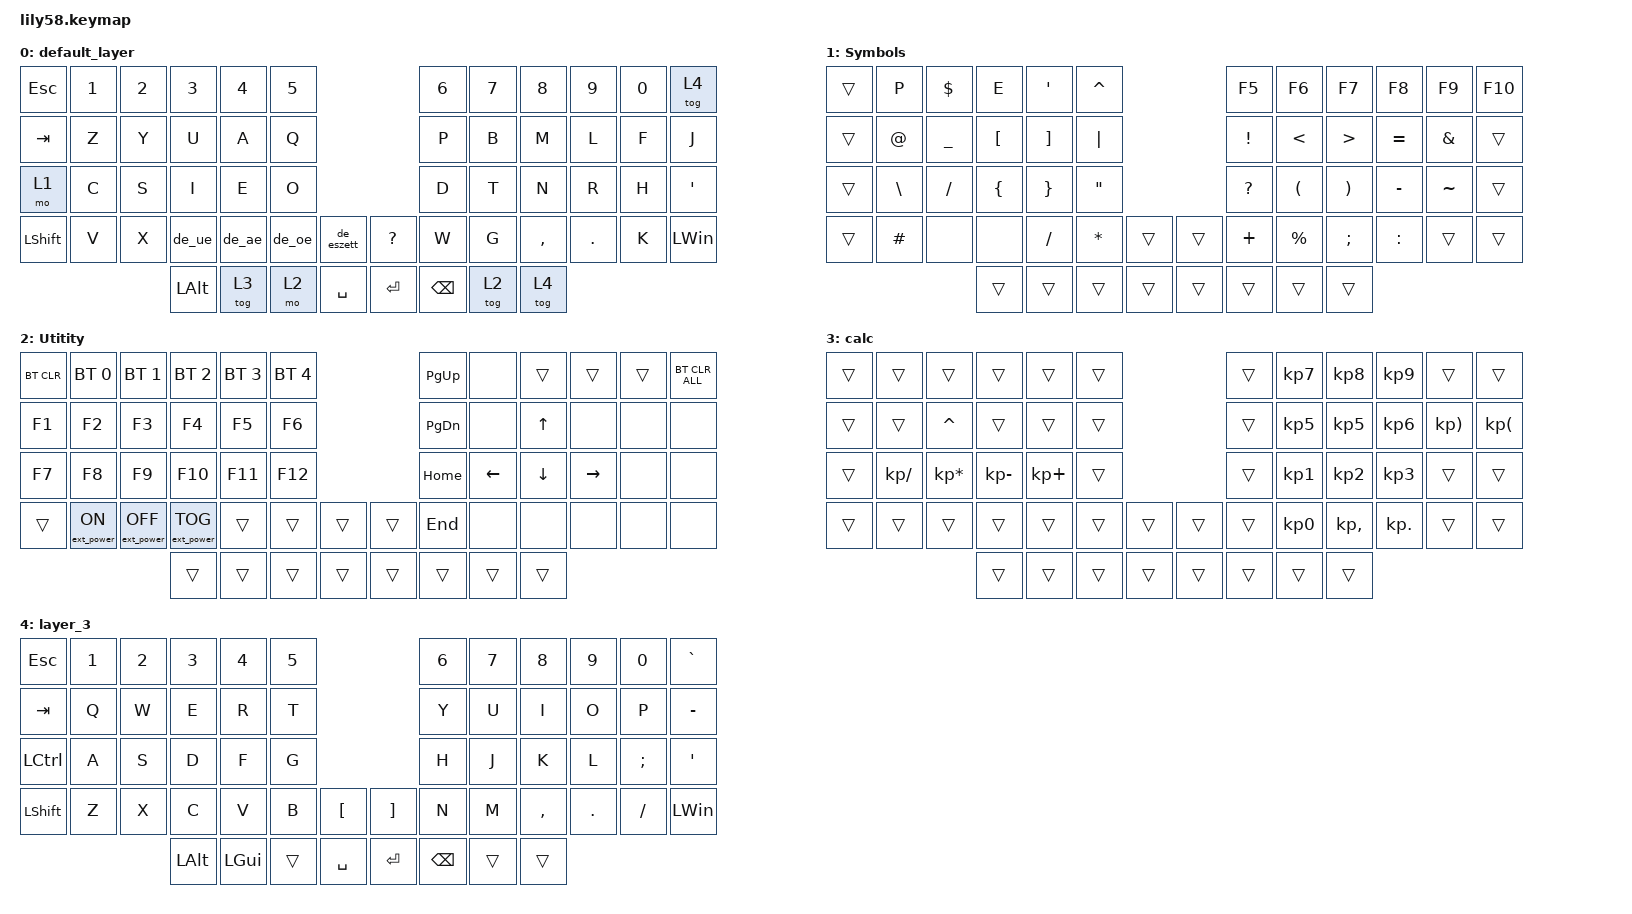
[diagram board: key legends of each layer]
/*
 * Copyright (c) 2020 The ZMK Contributors
 *
 * SPDX-License-Identifier: MIT
 */

#include <behaviors.dtsi>
#include <dt-bindings/zmk/bt.h>
#include <dt-bindings/zmk/keys.h>
#include "zmk-helpers/helper.h"
#include "zmk-helpers/key-labels/lily58.h"
#include "zmk-helpers/unicode-chars/german.dtsi"
#include <dt-bindings/zmk/ext_power.h>

/ {
    keymap {
        compatible = "zmk,keymap";

        default_layer {
            // ------------------------------------------------------------------------------------------------------------
            // |  ESC  |  1  |  2  |  3   |  4   |  5   |                   |  6   |  7    |  8    |  9   |   0   |   `   |
            // |  TAB  |  Q  |  W  |  E   |  R   |  T   |                   |  Y   |  U    |  I    |  O   |   P   |   -   |
            // |  CTRL |  A  |  S  |  D   |  F   |  G   |                   |  H   |  J    |  K    |  L   |   ;   |   '   |
            // | SHIFT |  Z  |  X  |  C   |  V   |  B   |   "["  |  |  "]"  |  N   |  M    |  ,    |  .   |   /   | SHIFT |
            //                     | ALT  | GUI  | LOWER|  SPACE |  | ENTER | RAISE| BSPC  | GUI   |

            bindings = <
&kp ESC    &kp NUMBER_1  &kp NUMBER_2  &kp N3    &kp NUMBER_4  &kp NUMBER_5                              &kp N6         &kp N7  &kp N8     &kp N9   &kp NUMBER_0  &tog 4
&kp TAB    &kp Z         &kp Y         &kp U     &kp A         &kp Q                                     &kp P          &kp B   &kp M      &kp L    &kp F         &kp J
&mo 1      &kp C         &kp S         &kp I     &kp E         &kp O                                     &kp D          &kp T   &kp N      &kp R    &kp H         &kp SQT
&kp LSHFT  &kp V         &kp X         &de_ue    &de_ae        &de_oe        &de_eszett    &kp QUESTION  &kp W          &kp G   &kp COMMA  &kp DOT  &kp K         &kp LEFT_WIN
                                       &kp LALT  &tog 3        &mo 2         &kp SPACE     &kp RET       &kp BACKSPACE  &tog 2  &tog 4
            >;
        };

        Symbols {
            bindings = <
&trans  &kp P          &kp DOLLAR      &kp E             &kp SINGLE_QUOTE   &kp CARET                            &kp F5           &kp F6                &kp F7                 &kp F8     &kp F9         &kp F10
&trans  &kp AT_SIGN    &kp UNDERSCORE  &kp LEFT_BRACKET  &kp RIGHT_BRACKET  &kp PIPE                             &kp EXCLAMATION  &kp LESS_THAN         &kp GREATER_THAN       &kp EQUAL  &kp AMPERSAND  &trans
&trans  &kp BACKSLASH  &kp SLASH       &kp LEFT_BRACE    &kp RIGHT_BRACE    &kp DOUBLE_QUOTES                    &kp QUESTION     &kp LEFT_PARENTHESIS  &kp RIGHT_PARENTHESIS  &kp MINUS  &kp TILDE      &trans
&trans  &kp HASH       &none           &none             &kp SLASH          &kp ASTERISK       &trans    &trans  &kp PLUS         &kp PERCENT           &kp SEMICOLON          &kp COLON  &trans         &trans
                                       &trans            &trans             &trans             &trans    &trans  &trans           &trans                &trans
            >;
        };

        Utitity {
            // ------------------------------------------------------------------------------------------------------------
            // | BTCLR | BT1 | BT2 |  BT3 |  BT4 |  BT5 |                   |      |       |       |      |       |       |
            // |  F1   |  F2 |  F3 |  F4  |  F5  |  F6  |                   |  F7  |  F8   |  F9   |  F10 |  F11  |  F12  |
            // |   `   |  !  |  @  |  #   |  $   |  %   |                   |  ^   |  &    |  *    |  (   |   )   |   ~   |
            // |       |     |     |      |      |      |        |  |       |      |  _    |  +    |  {   |   }   |  "|"  |
            //                     |      |      |      |        |  |       |      |       |       |

            bindings = <
&bt BT_CLR  &bt BT_SEL 0      &bt BT_SEL 1       &bt BT_SEL 2       &bt BT_SEL 3  &bt BT_SEL 4                    &kp PG_UP      &none           &trans          &trans           &trans  &bt BT_CLR_ALL
&kp F1      &kp F2            &kp F3             &kp F4             &kp F5        &kp F6                          &kp PAGE_DOWN  &none           &kp UP_ARROW    &none            &none   &none
&kp F7      &kp F8            &kp F9             &kp F10            &kp F11       &kp F12                         &kp HOME       &kp LEFT_ARROW  &kp DOWN_ARROW  &kp RIGHT_ARROW  &none   &none
&trans      &ext_power EP_ON  &ext_power EP_OFF  &ext_power EP_TOG  &trans        &trans        &trans    &trans  &kp END        &none           &none           &none            &none   &none
                                                 &trans             &trans        &trans        &trans    &trans  &trans         &trans          &trans
            >;
        };

        calc {
            bindings = <
&trans  &trans         &trans           &trans        &trans       &trans                    &trans  &kp KP_NUMBER_7  &kp KP_NUMBER_8  &kp KP_NUMBER_9  &trans                    &trans
&trans  &trans         &kp CARET        &trans        &trans       &trans                    &trans  &kp KP_NUMBER_5  &kp KP_NUMBER_5  &kp KP_NUMBER_6  &kp KP_RIGHT_PARENTHESIS  &kp KP_LEFT_PARENTHESIS
&trans  &kp KP_DIVIDE  &kp KP_ASTERISK  &kp KP_MINUS  &kp KP_PLUS  &trans                    &trans  &kp KP_NUMBER_1  &kp KP_NUMBER_2  &kp KP_NUMBER_3  &trans                    &trans
&trans  &trans         &trans           &trans        &trans       &trans  &trans    &trans  &trans  &kp KP_NUMBER_0  &kp KP_COMMA     &kp KP_DOT       &trans                    &trans
                                        &trans        &trans       &trans  &trans    &trans  &trans  &trans           &trans
            >;
        };

        layer_3 {
            bindings = <
&kp ESC    &kp NUMBER_1  &kp NUMBER_2  &kp N3    &kp NUMBER_4  &kp NUMBER_5                         &kp N6         &kp N7  &kp N8     &kp N9   &kp NUMBER_0  &kp GRAVE
&kp TAB    &kp Q         &kp W         &kp E     &kp R         &kp T                                &kp Y          &kp U   &kp I      &kp O    &kp P         &kp MINUS
&kp LCTRL  &kp A         &kp S         &kp D     &kp F         &kp G                                &kp H          &kp J   &kp K      &kp L    &kp SEMI      &kp SQT
&kp LSHFT  &kp Z         &kp X         &kp C     &kp V         &kp B         &kp LBKT     &kp RBKT  &kp N          &kp M   &kp COMMA  &kp DOT  &kp FSLH      &kp LEFT_WIN
                                       &kp LALT  &kp LGUI      &trans        &kp SPACE    &kp RET   &kp BACKSPACE  &trans  &trans
            >;
        };
    };
};
